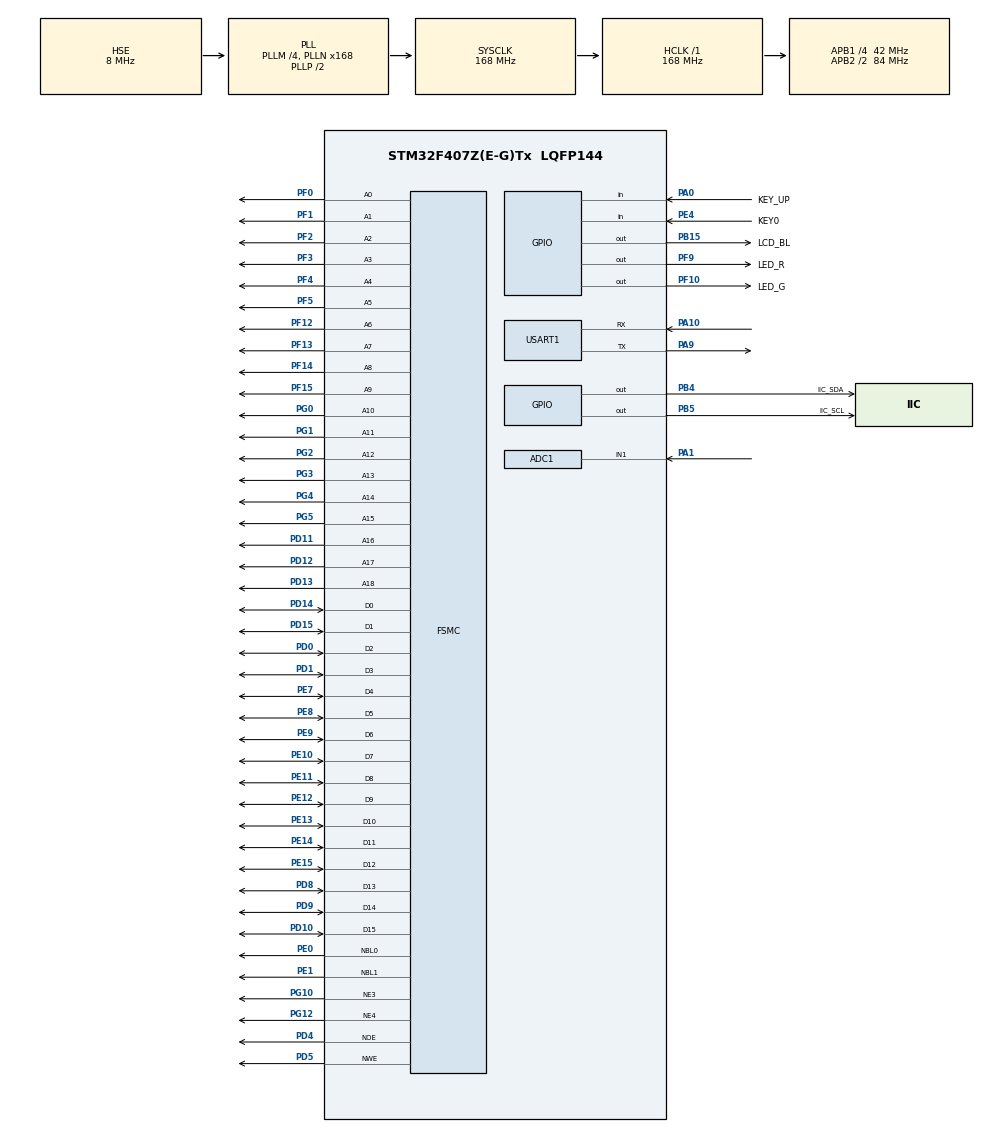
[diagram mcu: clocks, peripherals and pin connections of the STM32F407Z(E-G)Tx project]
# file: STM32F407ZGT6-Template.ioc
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ADC1.Channel-1\#ChannelRegularConversion=ADC_CHANNEL_1
ADC1.NbrOfConversionFlag=1
ADC1.Rank-1\#ChannelRegularConversion=1
ADC1.SamplingTime-1\#ChannelRegularConversion=ADC_SAMPLETIME_28CYCLES
ADC1.master=1
FSMC.AddressSetupTime3=0
FSMC.AddressSetupTime4=2
FSMC.BusTurnAroundDuration3=0
FSMC.BusTurnAroundDuration4=0
FSMC.DataSetupTime3=8
FSMC.DataSetupTime4=16
FSMC.ExtendedAddressSetupTime4=4
FSMC.ExtendedBusTurnAroundDuration4=0
FSMC.ExtendedDataSetupTime4=9
FSMC.ExtendedMode4=FSMC_EXTENDED_MODE_ENABLE
FSMC.WriteOperation3=FSMC_WRITE_OPERATION_ENABLE
Mcu.Family=STM32F4
Mcu.Name=STM32F407Z(E-G)Tx
Mcu.Package=LQFP144
NVIC.PriorityGroup=NVIC_PRIORITYGROUP_4
NVIC.TIM7_IRQn=true\:0\:0\:false\:false\:true\:true\:true\:true
NVIC.USART1_IRQn=true\:0\:0\:false\:false\:true\:true\:true\:true
PA0-WKUP.GPIO_Label=KEY_UP
PA0-WKUP.GPIO_PuPd=GPIO_PULLDOWN
PA0-WKUP.Signal=GPIO_Input
PA1.Signal=ADCx_IN1
PA10.Mode=Asynchronous
PA10.Signal=USART1_RX
PA13.Mode=Serial_Wire
PA13.Signal=SYS_JTMS-SWDIO
PA14.Mode=Serial_Wire
PA14.Signal=SYS_JTCK-SWCLK
PA9.Mode=Asynchronous
PA9.Signal=USART1_TX
PB15.GPIO_Label=LCD_BL
PB15.Signal=GPIO_Output
PB4.GPIO_Label=IIC_SDA
PB4.GPIO_ModeDefaultOutputPP=GPIO_MODE_OUTPUT_OD
PB4.GPIO_PuPd=GPIO_PULLUP
PB4.GPIO_Speed=GPIO_SPEED_FREQ_VERY_HIGH
PB4.PinState=GPIO_PIN_SET
PB4.Signal=GPIO_Output
PB5.GPIO_Label=IIC_SCL
PB5.GPIO_ModeDefaultOutputPP=GPIO_MODE_OUTPUT_PP
PB5.GPIO_PuPd=GPIO_PULLUP
PB5.GPIO_Speed=GPIO_SPEED_FREQ_VERY_HIGH
PB5.PinState=GPIO_PIN_SET
PB5.Signal=GPIO_Output
PD0.Signal=FSMC_D2_DA2
PD1.Signal=FSMC_D3_DA3
PD10.Signal=FSMC_D15_DA15
PD11.Signal=FSMC_A16_CLE
PD12.Signal=FSMC_A17_ALE
PD13.Signal=FSMC_A18
PD14.Signal=FSMC_D0_DA0
PD15.Signal=FSMC_D1_DA1
PD4.Signal=FSMC_NOE
PD5.Signal=FSMC_NWE
PD8.Signal=FSMC_D13_DA13
PD9.Signal=FSMC_D14_DA14
PE0.Signal=FSMC_NBL0
PE1.Signal=FSMC_NBL1
PE10.Signal=FSMC_D7_DA7
PE11.Signal=FSMC_D8_DA8
PE12.Signal=FSMC_D9_DA9
PE13.Signal=FSMC_D10_DA10
PE14.Signal=FSMC_D11_DA11
PE15.Signal=FSMC_D12_DA12
PE4.GPIO_Label=KEY0
PE4.GPIO_PuPd=GPIO_PULLDOWN
PE4.Signal=GPIO_Input
PE7.Signal=FSMC_D4_DA4
PE8.Signal=FSMC_D5_DA5
PE9.Signal=FSMC_D6_DA6
PF0.Signal=FSMC_A0
PF1.Signal=FSMC_A1
PF10.GPIO_Label=LED_G
PF10.GPIO_PuPd=GPIO_PULLUP
PF10.PinState=GPIO_PIN_SET
PF10.Signal=GPIO_Output
PF12.Signal=FSMC_A6
PF13.Signal=FSMC_A7
PF14.Signal=FSMC_A8
PF15.Signal=FSMC_A9
PF2.Signal=FSMC_A2
PF3.Signal=FSMC_A3
PF4.Signal=FSMC_A4
PF5.Signal=FSMC_A5
PF9.GPIO_Label=LED_R
PF9.GPIO_PuPd=GPIO_PULLUP
PF9.PinState=GPIO_PIN_SET
PF9.Signal=GPIO_Output
PG0.Signal=FSMC_A10
PG1.Signal=FSMC_A11
PG10.Mode=NorPsramChipSelect3_3
PG10.Signal=FSMC_NE3
PG12.Mode=NorPsramChipSelect4_4
PG12.Signal=FSMC_NE4
PG2.Signal=FSMC_A12
PG3.Signal=FSMC_A13
PG4.Signal=FSMC_A14
PG5.Signal=FSMC_A15
PH0-OSC_IN.Mode=HSE-External-Oscillator
PH0-OSC_IN.Signal=RCC_OSC_IN
PH1-OSC_OUT.Mode=HSE-External-Oscillator
PH1-OSC_OUT.Signal=RCC_OSC_OUT
ProjectManager.HeapSize=0x200
ProjectManager.StackSize=0x400
ProjectManager.TargetToolchain=MDK-ARM V5.27
RCC.48MHZClocksFreq_Value=48000000
RCC.AHBFreq_Value=168000000
RCC.APB1CLKDivider=RCC_HCLK_DIV4
RCC.APB1Freq_Value=42000000
RCC.APB1TimFreq_Value=84000000
RCC.APB2CLKDivider=RCC_HCLK_DIV2
RCC.APB2Freq_Value=84000000
RCC.APB2TimFreq_Value=168000000
RCC.CortexFreq_Value=168000000
RCC.FLatency=FLASH_LATENCY_5
RCC.HCLKFreq_Value=168000000
RCC.HSE_VALUE=8000000
RCC.HSI_VALUE=16000000
RCC.LSE_VALUE=32768
RCC.PLLM=4
RCC.PLLN=168
RCC.PLLQ=7
RCC.PLLSourceVirtual=RCC_PLLSOURCE_HSE
RCC.SYSCLKFreq_VALUE=168000000
RCC.SYSCLKSource=RCC_SYSCLKSOURCE_PLLCLK
RCC.VCOOutputFreq_Value=336000000
SH.ADCx_IN1.0=ADC1_IN1,IN1
SH.FSMC_A0.0=FSMC_A0,19b-a3
SH.FSMC_A1.0=FSMC_A1,19b-a3
SH.FSMC_A10.0=FSMC_A10,19b-a3
SH.FSMC_A11.0=FSMC_A11,19b-a3
SH.FSMC_A12.0=FSMC_A12,19b-a3
SH.FSMC_A13.0=FSMC_A13,19b-a3
SH.FSMC_A14.0=FSMC_A14,19b-a3
SH.FSMC_A15.0=FSMC_A15,19b-a3
SH.FSMC_A16_CLE.0=FSMC_A16,19b-a3
SH.FSMC_A17_ALE.0=FSMC_A17,19b-a3
SH.FSMC_A18.0=FSMC_A18,19b-a3
SH.FSMC_A2.0=FSMC_A2,19b-a3
SH.FSMC_A3.0=FSMC_A3,19b-a3
SH.FSMC_A4.0=FSMC_A4,19b-a3
SH.FSMC_A5.0=FSMC_A5,19b-a3
SH.FSMC_A6.0=FSMC_A6,A6_4
SH.FSMC_A6.1=FSMC_A6,19b-a3
SH.FSMC_A7.0=FSMC_A7,19b-a3
SH.FSMC_A8.0=FSMC_A8,19b-a3
SH.FSMC_A9.0=FSMC_A9,19b-a3
SH.FSMC_D0_DA0.0=FSMC_D0,16b-d4
SH.FSMC_D0_DA0.1=FSMC_D0,16b-d3
SH.FSMC_D10_DA10.0=FSMC_D10,16b-d4
SH.FSMC_D10_DA10.1=FSMC_D10,16b-d3
SH.FSMC_D11_DA11.0=FSMC_D11,16b-d4
SH.FSMC_D11_DA11.1=FSMC_D11,16b-d3
SH.FSMC_D12_DA12.0=FSMC_D12,16b-d4
SH.FSMC_D12_DA12.1=FSMC_D12,16b-d3
SH.FSMC_D13_DA13.0=FSMC_D13,16b-d4
SH.FSMC_D13_DA13.1=FSMC_D13,16b-d3
SH.FSMC_D14_DA14.0=FSMC_D14,16b-d4
SH.FSMC_D14_DA14.1=FSMC_D14,16b-d3
SH.FSMC_D15_DA15.0=FSMC_D15,16b-d4
SH.FSMC_D15_DA15.1=FSMC_D15,16b-d3
SH.FSMC_D1_DA1.0=FSMC_D1,16b-d4
SH.FSMC_D1_DA1.1=FSMC_D1,16b-d3
SH.FSMC_D2_DA2.0=FSMC_D2,16b-d4
SH.FSMC_D2_DA2.1=FSMC_D2,16b-d3
SH.FSMC_D3_DA3.0=FSMC_D3,16b-d4
SH.FSMC_D3_DA3.1=FSMC_D3,16b-d3
SH.FSMC_D4_DA4.0=FSMC_D4,16b-d4
SH.FSMC_D4_DA4.1=FSMC_D4,16b-d3
SH.FSMC_D5_DA5.0=FSMC_D5,16b-d4
SH.FSMC_D5_DA5.1=FSMC_D5,16b-d3
SH.FSMC_D6_DA6.0=FSMC_D6,16b-d4
SH.FSMC_D6_DA6.1=FSMC_D6,16b-d3
SH.FSMC_D7_DA7.0=FSMC_D7,16b-d4
SH.FSMC_D7_DA7.1=FSMC_D7,16b-d3
SH.FSMC_D8_DA8.0=FSMC_D8,16b-d4
SH.FSMC_D8_DA8.1=FSMC_D8,16b-d3
SH.FSMC_D9_DA9.0=FSMC_D9,16b-d4
SH.FSMC_D9_DA9.1=FSMC_D9,16b-d3
SH.FSMC_NBL0.0=FSMC_NBL0,2ByteEnable3
SH.FSMC_NBL1.0=FSMC_NBL1,2ByteEnable3
SH.FSMC_NOE.0=FSMC_NOE,Lcd4
SH.FSMC_NOE.1=FSMC_NOE,Sram3
SH.FSMC_NWE.0=FSMC_NWE,Lcd4
SH.FSMC_NWE.1=FSMC_NWE,Sram3
TIM6.Period=10000
TIM6.Prescaler=84
TIM7.Period=10000-1
TIM7.Prescaler=8400-1
USART1.VirtualMode=VM_ASYNC
VP_RNG_VS_RNG.Mode=RNG_Activate
VP_TIM6_VS_ClockSourceINT.Mode=Enable_Timer
VP_TIM7_VS_ClockSourceINT.Mode=Enable_Timer
board=custom

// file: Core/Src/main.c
/* USER CODE BEGIN Header */
/**
  ******************************************************************************
  * @file           : main.c
  * @brief          : Main program body
  ******************************************************************************
  * @attention
  *
  * Copyright (c) 2023 STMicroelectronics.
  * All rights reserved.
  *
  * This software is licensed under terms that can be found in the LICENSE file
  * in the root directory of this software component.
  * If no LICENSE file comes with this software, it is provided AS-IS.
  *
  ******************************************************************************
  */
/* USER CODE END Header */
#include "main.h"
#include "adc.h"
#include "rng.h"
#include "tim.h"
#include "usart.h"
#include "gpio.h"
#include "fsmc.h"

/* USER CODE BEGIN PV */
uint8_t idle_rec_buf[100];
/* USER CODE END PV */

void SystemClock_Config(void);

int main(void)
{

  /* MCU Configuration--------------------------------------------------------*/

  /* Reset of all peripherals, Initializes the Flash interface and the Systick. */
  HAL_Init();

  /* Configure the system clock */
  SystemClock_Config();

  /* Initialize all configured peripherals */
  MX_GPIO_Init();
  MX_USART1_UART_Init();
  MX_TIM7_Init();
  MX_RNG_Init();
  MX_FSMC_Init();
  MX_TIM6_Init();
  MX_ADC1_Init();
  /* USER CODE BEGIN 2 */

	HAL_TIM_Base_Start_IT(&htim7);
	HAL_UARTEx_ReceiveToIdle_IT(&huart1, idle_rec_buf, 100);	/* 每次使用发生中断后不会自动恢复,要再次使用这个函数 */

  /* USER CODE END 2 */

  /* Infinite loop */
  /* USER CODE BEGIN WHILE */
  while (1)
  {

		uint8_t key = Get_key_with_undo(20);
		if(key == key_up_down)
		{
			HAL_ADC_Start(&hadc1);
			if(HAL_ADC_PollForConversion(&hadc1, 0xff) == HAL_OK)
			{
				uint16_t value = HAL_ADC_GetValue(&hadc1);
				printf("%d\r\n", value);
			}
		}
		if(key == key0_down)
		{
		}

    /* USER CODE END WHILE */

  }
}

void SystemClock_Config(void)
{
  RCC_OscInitTypeDef RCC_OscInitStruct = {0};
  RCC_ClkInitTypeDef RCC_ClkInitStruct = {0};

  /** Configure the main internal regulator output voltage
  */
  __HAL_RCC_PWR_CLK_ENABLE();
  __HAL_PWR_VOLTAGESCALING_CONFIG(PWR_REGULATOR_VOLTAGE_SCALE1);

  /** Initializes the RCC Oscillators according to the specified parameters
  * in the RCC_OscInitTypeDef structure.
  */
  RCC_OscInitStruct.OscillatorType = RCC_OSCILLATORTYPE_HSE;
  RCC_OscInitStruct.HSEState = RCC_HSE_ON;
  RCC_OscInitStruct.PLL.PLLState = RCC_PLL_ON;
  RCC_OscInitStruct.PLL.PLLSource = RCC_PLLSOURCE_HSE;
  RCC_OscInitStruct.PLL.PLLM = 4;
  RCC_OscInitStruct.PLL.PLLN = 168;
  RCC_OscInitStruct.PLL.PLLP = RCC_PLLP_DIV2;
  RCC_OscInitStruct.PLL.PLLQ = 7;
  if (HAL_RCC_OscConfig(&RCC_OscInitStruct) != HAL_OK)
  {
    Error_Handler();
  }

  /** Initializes the CPU, AHB and APB buses clocks
  */
  RCC_ClkInitStruct.ClockType = RCC_CLOCKTYPE_HCLK|RCC_CLOCKTYPE_SYSCLK
                              |RCC_CLOCKTYPE_PCLK1|RCC_CLOCKTYPE_PCLK2;
  RCC_ClkInitStruct.SYSCLKSource = RCC_SYSCLKSOURCE_PLLCLK;
  RCC_ClkInitStruct.AHBCLKDivider = RCC_SYSCLK_DIV1;
  RCC_ClkInitStruct.APB1CLKDivider = RCC_HCLK_DIV4;
  RCC_ClkInitStruct.APB2CLKDivider = RCC_HCLK_DIV2;

  if (HAL_RCC_ClockConfig(&RCC_ClkInitStruct, FLASH_LATENCY_5) != HAL_OK)
  {
    Error_Handler();
  }
}

/* USER CODE BEGIN 4 */

/* 定时器回调函数 */
void HAL_TIM_PeriodElapsedCallback(TIM_HandleTypeDef *htim)
{
	/* 定时一秒 */
	if(htim == &htim7)
	{
	}
}

/* 串口IDLE中断函数 */
void HAL_UARTEx_RxEventCallback(UART_HandleTypeDef *huart, uint16_t Size)
{
	if(huart == &huart1)
	{
		idle_rec_buf[Size] = '\0';

		HAL_UART_Transmit(&huart1, idle_rec_buf, strlen((char*)idle_rec_buf), 0xff);

		HAL_UARTEx_ReceiveToIdle_IT(&huart1, idle_rec_buf, 100);	/* 再次打开串口IDLE中断接收函数 */

	}
}
/* USER CODE END 4 */

void Error_Handler(void)
{
  __disable_irq();
  while (1)
  {
  }
}
